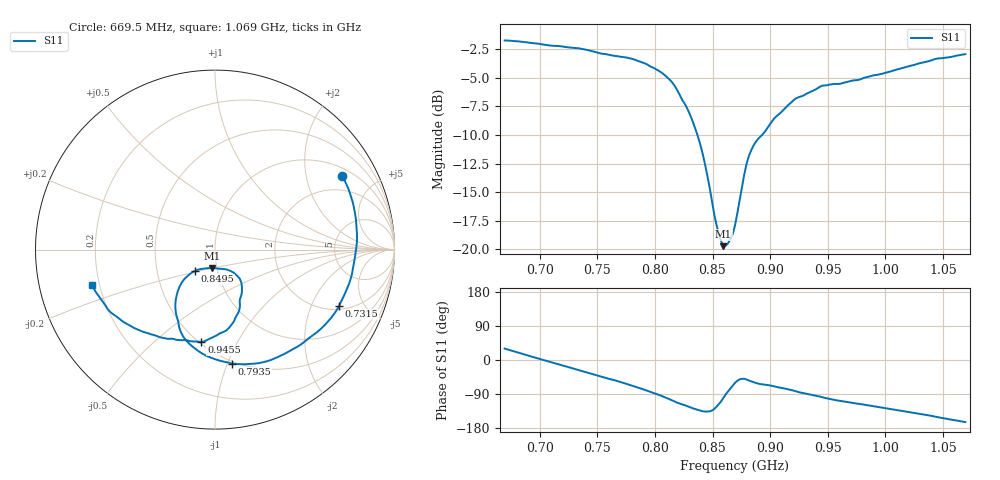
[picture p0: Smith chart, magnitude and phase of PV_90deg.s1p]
#  HZ  S  RI  R  50.00
! Rohde & Schwarz Vector Network Analyzer
! Rohde-Schwarz,ZNB8-2Port,1311601042102944,2.30
! Created: UTC 3/16/2026, 1:10:54 PM
! freq[Hz]  re:S22  im:S22
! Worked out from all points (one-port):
!   201 points, 669.5 MHz to 1.069 GHz, reference 50 ohm
!   lowest |S11| = -19.7 dB at 859.5 MHz (marker M1), VSWR 1.23, Z = 47.3 - j9.74 ohm
!   |S11| at or under -10 dB: 836.9 MHz to 892.9 MHz (56.08 MHz wide, 6.48 % of centre)
!   S11 on the Smith chart (normalised r, x): 669.5 MHz: 1.29, +3.24; 731.5 MHz: 2.18, -3.23; 793.5 MHz: 0.48, -1.04; 849.5 MHz: 0.78, -0.19; 945.5 MHz: 0.51, -0.72; 1.069 GHz: 0.17, -0.14
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6.695e8  0.7083 0.4113
6.815e8  0.7668 0.2655
6.955e8  0.7906 0.0935
7.195e8  0.748 -0.188
7.315e8  0.6902 -0.3142
7.475e8  0.5677 -0.4605
7.695e8  0.3739 -0.5871
7.815e8  0.2418 -0.6328
7.935e8  0.0956 -0.6354
8.075e8  -0.0715 -0.5792
8.195e8  -0.1916 -0.4564
8.295e8  -0.2205 -0.3312
8.375e8  -0.2066 -0.2299
8.435e8  -0.1696 -0.163
8.495e8  -0.1121 -0.118
8.535e8  -0.0697 -0.1069
8.595e8  -0.0173 -0.1018
8.655e8  0.0285 -0.1071
8.695e8  0.0633 -0.1104
8.775e8  0.1376 -0.1614
8.835e8  0.1503 -0.2251
9.015e8  0.1353 -0.3359
9.195e8  0.0763 -0.4377
9.455e8  -0.0762 -0.5142
9.695e8  -0.2055 -0.5039
1.0195e9  -0.4586 -0.432
1.0415e9  -0.5739 -0.3557
1.0695e9  -0.6852 -0.1993
